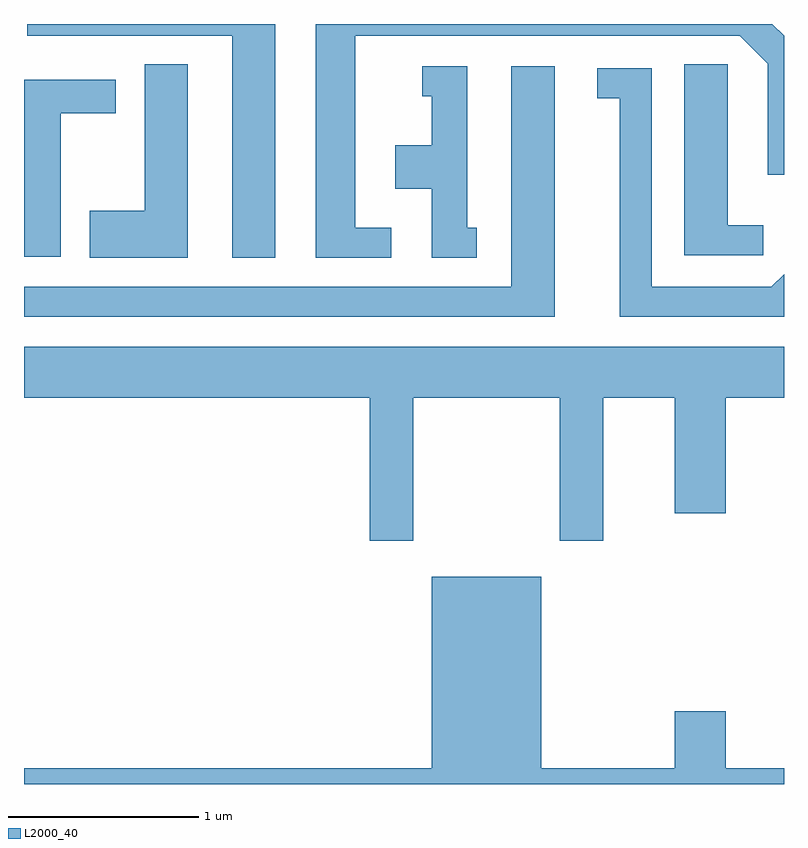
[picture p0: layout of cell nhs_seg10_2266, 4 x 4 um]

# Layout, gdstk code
import gdstk
lib = gdstk.Library(unit=1e-6, precision=1e-09)
def P(c, l, *ps):  # polygons
    for p in ps: c.add(gdstk.Polygon(p, *l))
L2000_40 = (2000, 40)

nhs_seg10_2266 = lib.new_cell('nhs_seg10_2266')
P(nhs_seg10_2266, L2000_40, [(252.934,2142.522),(251.628,2142.522),(251.628,2142.461),(252.706,2142.461),(252.706,2141.291),(252.934,2141.291)],
  [(253.543,2141.449),(253.354,2141.449),(253.354,2142.461),(255.379,2142.461),(255.526,2142.314),(255.526,2141.728),(255.611,2141.728),(255.611,2142.46),(255.549,2142.522),(253.146,2142.522),(253.146,2141.291),(253.543,2141.291)],
  [(252.474,2142.309),(252.246,2142.309),(252.246,2141.539),(251.956,2141.539),(251.956,2141.291),(252.474,2141.291)],
  [(255.503,2141.464),(255.314,2141.464),(255.314,2142.309),(255.086,2142.309),(255.086,2141.306),(255.503,2141.306)],
  [(254.404,2142.299),(254.176,2142.299),(254.176,2141.139),(251.611,2141.139),(251.611,2140.981),(254.404,2140.981)],
  [(253.993,2141.449),(253.944,2141.449),(253.944,2142.299),(253.708,2142.299),(253.708,2142.141),(253.756,2142.141),(253.756,2141.884),(253.566,2141.884),(253.566,2141.656),(253.756,2141.656),(253.756,2141.291),(253.993,2141.291)],
  [(255.611,2141.206),(255.544,2141.139),(254.914,2141.139),(254.914,2142.289),(254.628,2142.289),(254.628,2142.131),(254.746,2142.131),(254.746,2140.981),(255.611,2140.981)],
  [(251.804,2142.051),(252.094,2142.051),(252.094,2142.229),(251.611,2142.229),(251.611,2141.296),(251.804,2141.296)],
  [(253.659,2140.556),(254.431,2140.556),(254.431,2139.801),(254.659,2139.801),(254.659,2140.556),(255.036,2140.556),(255.036,2139.946),(255.304,2139.946),(255.304,2140.556),(255.611,2140.556),(255.611,2140.824),(251.611,2140.824),(251.611,2140.556),(253.431,2140.556),(253.431,2139.801),(253.659,2139.801)],
  [(255.611,2138.604),(255.304,2138.604),(255.304,2138.904),(255.036,2138.904),(255.036,2138.604),(254.334,2138.604),(254.334,2139.614),(253.756,2139.614),(253.756,2138.604),(251.611,2138.604),(251.611,2138.522),(255.611,2138.522)])

lib.write_gds('nhs_seg10_2266.gds')
